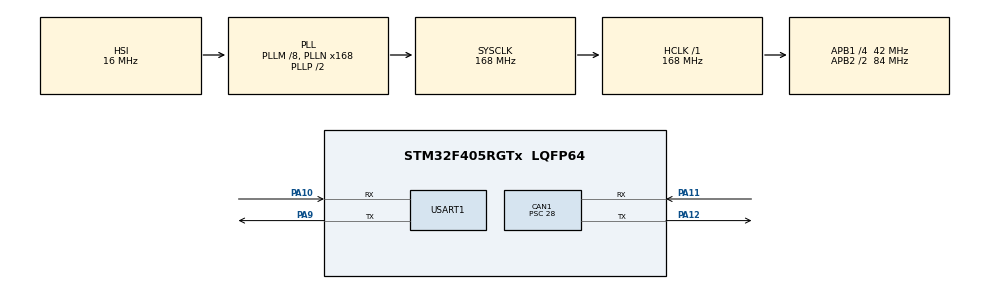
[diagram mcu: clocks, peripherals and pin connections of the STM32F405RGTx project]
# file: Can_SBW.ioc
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CAN1.CalculateBaudRate=499999
CAN1.CalculateTimeBit=2000
CAN1.CalculateTimeQuantum=666.6666666666667
CAN1.Mode=CAN_MODE_LOOPBACK
CAN1.Prescaler=28
Mcu.Family=STM32F4
Mcu.Name=STM32F405RGTx
Mcu.Package=LQFP64
NVIC.CAN1_RX0_IRQn=true\:0\:0\:false\:false\:true\:true\:true\:true
NVIC.CAN1_RX1_IRQn=true\:0\:0\:false\:false\:true\:true\:true\:true
NVIC.CAN1_TX_IRQn=true\:0\:0\:false\:false\:true\:true\:true\:true
NVIC.PriorityGroup=NVIC_PRIORITYGROUP_4
NVIC.USART1_IRQn=true\:0\:0\:false\:false\:true\:true\:true\:true
PA10.Mode=Asynchronous
PA10.Signal=USART1_RX
PA11.Mode=CAN_Activate
PA11.Signal=CAN1_RX
PA12.Mode=CAN_Activate
PA12.Signal=CAN1_TX
PA9.Mode=Asynchronous
PA9.Signal=USART1_TX
PH0-OSC_IN.Mode=HSE-External-Oscillator
PH0-OSC_IN.Signal=RCC_OSC_IN
PH1-OSC_OUT.Mode=HSE-External-Oscillator
PH1-OSC_OUT.Signal=RCC_OSC_OUT
ProjectManager.HeapSize=0x200
ProjectManager.StackSize=0x400
ProjectManager.TargetToolchain=STM32CubeIDE
RCC.48MHZClocksFreq_Value=84000000
RCC.AHBFreq_Value=168000000
RCC.APB1CLKDivider=RCC_HCLK_DIV4
RCC.APB1Freq_Value=42000000
RCC.APB1TimFreq_Value=84000000
RCC.APB2CLKDivider=RCC_HCLK_DIV2
RCC.APB2Freq_Value=84000000
RCC.APB2TimFreq_Value=168000000
RCC.CortexFreq_Value=168000000
RCC.HCLKFreq_Value=168000000
RCC.HSE_VALUE=8000000
RCC.HSI_VALUE=16000000
RCC.LSE_VALUE=32768
RCC.PLLM=8
RCC.PLLN=168
RCC.SYSCLKFreq_VALUE=168000000
RCC.SYSCLKSource=RCC_SYSCLKSOURCE_PLLCLK
RCC.VCOOutputFreq_Value=336000000
USART1.VirtualMode=VM_ASYNC
board=custom

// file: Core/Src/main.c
/* USER CODE BEGIN Header */
/**
  ******************************************************************************
  * @file           : main.c
  * @brief          : Main program body
  ******************************************************************************
  * @attention
  *
  * Copyright (c) 2025 STMicroelectronics.
  * All rights reserved.
  *
  * This software is licensed under terms that can be found in the LICENSE file
  * in the root directory of this software component.
  * If no LICENSE file comes with this software, it is provided AS-IS.
  *
  ******************************************************************************
  */
/* USER CODE END Header */
#include "main.h"

CAN_HandleTypeDef hcan1;

UART_HandleTypeDef huart1;

void SystemClock_Config(void);
static void MX_GPIO_Init(void);
static void MX_CAN1_Init(void);
static void MX_USART1_UART_Init(void);

/* USER CODE BEGIN 0 */
CAN_TxHeaderTypeDef myTX_header;
CAN_RxHeaderTypeDef myRX_header;
uint32_t myTxmailbox;
uint8_t myTxbuffer[8];
uint8_t myRxbuffer[8];
void HAL_CAN_RxFifo0MsgPendingCallback(CAN_HandleTypeDef *hcan){//call back functions added before main
    HAL_CAN_GetRxMessage( hcan1, CAN_RX_FIFO0, &myRX_header, myRxbuffer);

}

/* USER CODE END 0 */

int main(void)
{

  /* MCU Configuration--------------------------------------------------------*/

  /* Reset of all peripherals, Initializes the Flash interface and the Systick. */
  HAL_Init();

  /* Configure the system clock */
  SystemClock_Config();

  /* Initialize all configured peripherals */
  MX_GPIO_Init();
  MX_CAN1_Init();
  MX_USART1_UART_Init();
  /* USER CODE BEGIN 2 */
HAL_CAN_Start(&hcan1);
HAL_CAN_ActivateNotification(&hcan1,CAN_IT_RX_FIFO0_MSG_PENDING);
myTX_header.DLC=1;
myTX_header.ExtId=0;
myTX_header.IDE=CAN_ID_STD;
myTX_header.RTR=CAN_RTR_DATA;
myTX_header.StdId=0x103;
myTX_header.TransmitGlobalTime=DISABLE;
myTxbuffer[0]=0xf3;
HAL_CAN_AddTxMessage(&hcan1, &myTX_header, myTxbuffer, &myTxmailbox);

  /* USER CODE END 2 */

  /* Infinite loop */
  while (1)
  {

  }
}

void SystemClock_Config(void)
{
  RCC_OscInitTypeDef RCC_OscInitStruct = {0};
  RCC_ClkInitTypeDef RCC_ClkInitStruct = {0};

  /** Configure the main internal regulator output voltage
  */
  __HAL_RCC_PWR_CLK_ENABLE();
  __HAL_PWR_VOLTAGESCALING_CONFIG(PWR_REGULATOR_VOLTAGE_SCALE1);

  /** Initializes the RCC Oscillators according to the specified parameters
  * in the RCC_OscInitTypeDef structure.
  */
  RCC_OscInitStruct.OscillatorType = RCC_OSCILLATORTYPE_HSI;
  RCC_OscInitStruct.HSIState = RCC_HSI_ON;
  RCC_OscInitStruct.HSICalibrationValue = RCC_HSICALIBRATION_DEFAULT;
  RCC_OscInitStruct.PLL.PLLState = RCC_PLL_ON;
  RCC_OscInitStruct.PLL.PLLSource = RCC_PLLSOURCE_HSI;
  RCC_OscInitStruct.PLL.PLLM = 8;
  RCC_OscInitStruct.PLL.PLLN = 168;
  RCC_OscInitStruct.PLL.PLLP = RCC_PLLP_DIV2;
  RCC_OscInitStruct.PLL.PLLQ = 4;
  if (HAL_RCC_OscConfig(&RCC_OscInitStruct) != HAL_OK)
  {
    Error_Handler();
  }

  /** Initializes the CPU, AHB and APB buses clocks
  */
  RCC_ClkInitStruct.ClockType = RCC_CLOCKTYPE_HCLK|RCC_CLOCKTYPE_SYSCLK
                              |RCC_CLOCKTYPE_PCLK1|RCC_CLOCKTYPE_PCLK2;
  RCC_ClkInitStruct.SYSCLKSource = RCC_SYSCLKSOURCE_PLLCLK;
  RCC_ClkInitStruct.AHBCLKDivider = RCC_SYSCLK_DIV1;
  RCC_ClkInitStruct.APB1CLKDivider = RCC_HCLK_DIV4;
  RCC_ClkInitStruct.APB2CLKDivider = RCC_HCLK_DIV2;

  if (HAL_RCC_ClockConfig(&RCC_ClkInitStruct, FLASH_LATENCY_5) != HAL_OK)
  {
    Error_Handler();
  }
}

static void MX_CAN1_Init(void)
{

  hcan1.Instance = CAN1;
  hcan1.Init.Prescaler = 28;
  hcan1.Init.Mode = CAN_MODE_LOOPBACK;
  hcan1.Init.SyncJumpWidth = CAN_SJW_1TQ;
  hcan1.Init.TimeSeg1 = CAN_BS1_1TQ;
  hcan1.Init.TimeSeg2 = CAN_BS2_1TQ;
  hcan1.Init.TimeTriggeredMode = DISABLE;
  hcan1.Init.AutoBusOff = DISABLE;
  hcan1.Init.AutoWakeUp = DISABLE;
  hcan1.Init.AutoRetransmission = DISABLE;
  hcan1.Init.ReceiveFifoLocked = DISABLE;
  hcan1.Init.TransmitFifoPriority = DISABLE;
  if (HAL_CAN_Init(&hcan1) != HAL_OK)
  {
    Error_Handler();
  }
  /* USER CODE BEGIN CAN1_Init 2 */
//filter inlitization
  CAN_FilterTypeDef mycanfilter_config;
  mycanfilter_config.FilterActivation=CAN_FILTER_ENABLE;
  mycanfilter_config.FilterBank=10;
  mycanfilter_config.FilterFIFOAssignment=CAN_FILTER_FIFO0 ;
  mycanfilter_config.FilterIdHigh=0;
  mycanfilter_config.FilterIdLow=0x0000;
  mycanfilter_config.FilterMaskIdHigh=0;
  mycanfilter_config.FilterMaskIdLow=0x0000;
  mycanfilter_config.FilterMode=CAN_FILTERMODE_IDMASK;
  mycanfilter_config.FilterScale=CAN_FILTERSCALE_32BIT;
  mycanfilter_config.SlaveStartFilterBank=0;
  HAL_CAN_ConfigFilter(&hcan1, &mycanfilter_config);
  /* USER CODE END CAN1_Init 2 */

}

static void MX_USART1_UART_Init(void)
{

  huart1.Instance = USART1;
  huart1.Init.BaudRate = 115200;
  huart1.Init.WordLength = UART_WORDLENGTH_8B;
  huart1.Init.StopBits = UART_STOPBITS_1;
  huart1.Init.Parity = UART_PARITY_NONE;
  huart1.Init.Mode = UART_MODE_TX_RX;
  huart1.Init.HwFlowCtl = UART_HWCONTROL_NONE;
  huart1.Init.OverSampling = UART_OVERSAMPLING_16;
  if (HAL_UART_Init(&huart1) != HAL_OK)
  {
    Error_Handler();
  }

}

static void MX_GPIO_Init(void)
{

  /* GPIO Ports Clock Enable */
  __HAL_RCC_GPIOH_CLK_ENABLE();
  __HAL_RCC_GPIOA_CLK_ENABLE();

}

void Error_Handler(void)
{
  __disable_irq();
  while (1)
  {
  }
}
